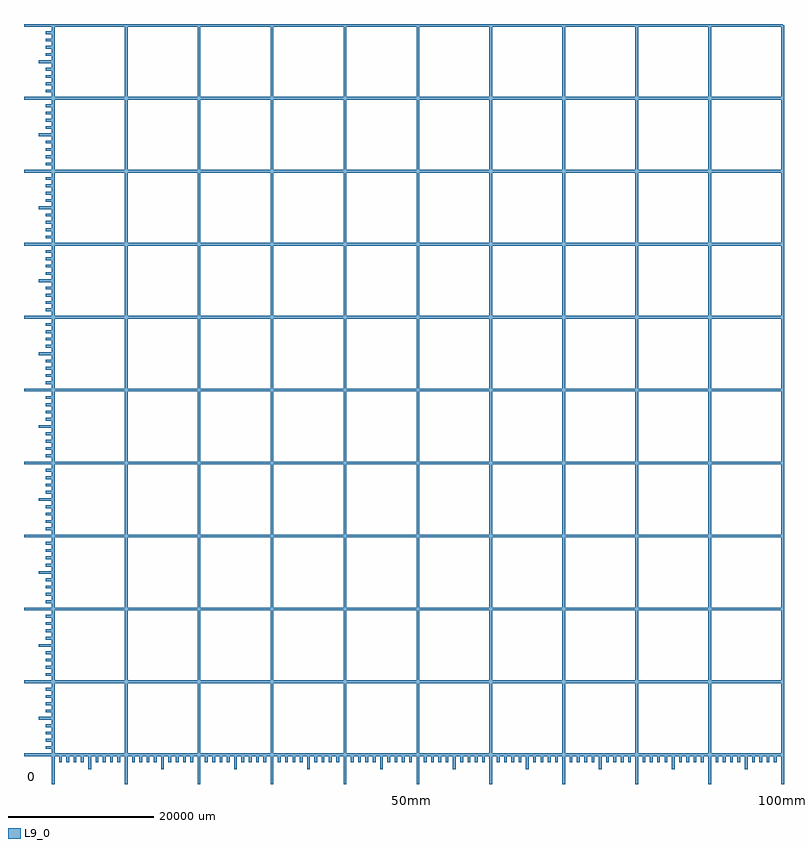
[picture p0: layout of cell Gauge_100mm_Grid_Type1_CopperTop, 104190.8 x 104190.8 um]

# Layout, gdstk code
import gdstk
lib = gdstk.Library(unit=1e-6, precision=1e-09)
L9_0 = (9, 0)

gauge_100mm_grid_type1_c = lib.new_cell('Gauge_100mm_Grid_Type1_CopperTop')
gauge_100mm_grid_type1_c.add(gdstk.FlexPath([(0,0),(0,99999.8)], 380.998, ends="flush", simple_path=True, layer=9, datatype=0))  # L9_0
gauge_100mm_grid_type1_c.add(gdstk.FlexPath([(0,99999.8),(-1998.98,99999.8)], 380.998, ends="flush", simple_path=True, layer=9, datatype=0))  # L9_0
gauge_100mm_grid_type1_c.add(gdstk.FlexPath([(-1998.98,99999.8),(-4000.5,99999.8)], 380.998, ends="flush", simple_path=True, layer=9, datatype=0))  # L9_0
gauge_100mm_grid_type1_c.add(gdstk.FlexPath([(0,98999.04),(-1000.76,98999.04)], 380.998, ends="flush", simple_path=True, layer=9, datatype=0))  # L9_0
gauge_100mm_grid_type1_c.add(gdstk.FlexPath([(0,98000.82),(-1000.76,98000.82)], 380.998, ends="flush", simple_path=True, layer=9, datatype=0))  # L9_0
gauge_100mm_grid_type1_c.add(gdstk.FlexPath([(0,97000.06),(-1000.76,97000.06)], 380.998, ends="flush", simple_path=True, layer=9, datatype=0))  # L9_0
gauge_100mm_grid_type1_c.add(gdstk.FlexPath([(0,95999.3),(-1000.76,95999.3)], 380.998, ends="flush", simple_path=True, layer=9, datatype=0))  # L9_0
gauge_100mm_grid_type1_c.add(gdstk.FlexPath([(0,95001.08),(-1998.98,95001.08)], 380.998, ends="flush", simple_path=True, layer=9, datatype=0))  # L9_0
gauge_100mm_grid_type1_c.add(gdstk.FlexPath([(0,94000.32),(-1000.76,94000.32)], 380.998, ends="flush", simple_path=True, layer=9, datatype=0))  # L9_0
gauge_100mm_grid_type1_c.add(gdstk.FlexPath([(0,92999.56),(-1000.76,92999.56)], 380.998, ends="flush", simple_path=True, layer=9, datatype=0))  # L9_0
gauge_100mm_grid_type1_c.add(gdstk.FlexPath([(0,91998.8),(-1000.76,91998.8)], 380.998, ends="flush", simple_path=True, layer=9, datatype=0))  # L9_0
gauge_100mm_grid_type1_c.add(gdstk.FlexPath([(0,91000.58),(-1000.76,91000.58)], 380.998, ends="flush", simple_path=True, layer=9, datatype=0))  # L9_0
gauge_100mm_grid_type1_c.add(gdstk.FlexPath([(0,89999.82),(-4000.5,89999.82)], 380.998, ends="flush", simple_path=True, layer=9, datatype=0))  # L9_0
gauge_100mm_grid_type1_c.add(gdstk.FlexPath([(0,88999.06),(-1000.76,88999.06)], 380.998, ends="flush", simple_path=True, layer=9, datatype=0))  # L9_0
gauge_100mm_grid_type1_c.add(gdstk.FlexPath([(0,88000.84),(-1000.76,88000.84)], 380.998, ends="flush", simple_path=True, layer=9, datatype=0))  # L9_0
gauge_100mm_grid_type1_c.add(gdstk.FlexPath([(0,87000.08),(-1000.76,87000.08)], 380.998, ends="flush", simple_path=True, layer=9, datatype=0))  # L9_0
gauge_100mm_grid_type1_c.add(gdstk.FlexPath([(0,85999.32),(-1000.76,85999.32)], 380.998, ends="flush", simple_path=True, layer=9, datatype=0))  # L9_0
gauge_100mm_grid_type1_c.add(gdstk.FlexPath([(0,85001.1),(-1998.98,85001.1)], 380.998, ends="flush", simple_path=True, layer=9, datatype=0))  # L9_0
gauge_100mm_grid_type1_c.add(gdstk.FlexPath([(0,84000.34),(-1000.76,84000.34)], 380.998, ends="flush", simple_path=True, layer=9, datatype=0))  # L9_0
gauge_100mm_grid_type1_c.add(gdstk.FlexPath([(0,82999.58),(-1000.76,82999.58)], 380.998, ends="flush", simple_path=True, layer=9, datatype=0))  # L9_0
gauge_100mm_grid_type1_c.add(gdstk.FlexPath([(0,81998.82),(-1000.76,81998.82)], 380.998, ends="flush", simple_path=True, layer=9, datatype=0))  # L9_0
gauge_100mm_grid_type1_c.add(gdstk.FlexPath([(0,81000.6),(-1000.76,81000.6)], 380.998, ends="flush", simple_path=True, layer=9, datatype=0))  # L9_0
gauge_100mm_grid_type1_c.add(gdstk.FlexPath([(0,79999.84),(-4000.5,79999.84)], 380.998, ends="flush", simple_path=True, layer=9, datatype=0))  # L9_0
gauge_100mm_grid_type1_c.add(gdstk.FlexPath([(0,78999.08),(-1000.76,78999.08)], 380.998, ends="flush", simple_path=True, layer=9, datatype=0))  # L9_0
gauge_100mm_grid_type1_c.add(gdstk.FlexPath([(0,78000.86),(-1000.76,78000.86)], 380.998, ends="flush", simple_path=True, layer=9, datatype=0))  # L9_0
gauge_100mm_grid_type1_c.add(gdstk.FlexPath([(0,77000.1),(-1000.76,77000.1)], 380.998, ends="flush", simple_path=True, layer=9, datatype=0))  # L9_0
gauge_100mm_grid_type1_c.add(gdstk.FlexPath([(0,75999.34),(-1000.76,75999.34)], 380.998, ends="flush", simple_path=True, layer=9, datatype=0))  # L9_0
gauge_100mm_grid_type1_c.add(gdstk.FlexPath([(0,75001.12),(-1998.98,75001.12)], 380.998, ends="flush", simple_path=True, layer=9, datatype=0))  # L9_0
gauge_100mm_grid_type1_c.add(gdstk.FlexPath([(0,74000.36),(-1000.76,74000.36)], 380.998, ends="flush", simple_path=True, layer=9, datatype=0))  # L9_0
gauge_100mm_grid_type1_c.add(gdstk.FlexPath([(0,72999.6),(-1000.76,72999.6)], 380.998, ends="flush", simple_path=True, layer=9, datatype=0))  # L9_0
gauge_100mm_grid_type1_c.add(gdstk.FlexPath([(0,71998.84),(-1000.76,71998.84)], 380.998, ends="flush", simple_path=True, layer=9, datatype=0))  # L9_0
gauge_100mm_grid_type1_c.add(gdstk.FlexPath([(0,71000.62),(-1000.76,71000.62)], 380.998, ends="flush", simple_path=True, layer=9, datatype=0))  # L9_0
gauge_100mm_grid_type1_c.add(gdstk.FlexPath([(0,69999.86),(-4000.5,69999.86)], 380.998, ends="flush", simple_path=True, layer=9, datatype=0))  # L9_0
gauge_100mm_grid_type1_c.add(gdstk.FlexPath([(0,68999.1),(-1000.76,68999.1)], 380.998, ends="flush", simple_path=True, layer=9, datatype=0))  # L9_0
gauge_100mm_grid_type1_c.add(gdstk.FlexPath([(0,68000.88),(-1000.76,68000.88)], 380.998, ends="flush", simple_path=True, layer=9, datatype=0))  # L9_0
gauge_100mm_grid_type1_c.add(gdstk.FlexPath([(0,67000.12),(-1000.76,67000.12)], 380.998, ends="flush", simple_path=True, layer=9, datatype=0))  # L9_0
gauge_100mm_grid_type1_c.add(gdstk.FlexPath([(0,65999.36),(-1000.76,65999.36)], 380.998, ends="flush", simple_path=True, layer=9, datatype=0))  # L9_0
gauge_100mm_grid_type1_c.add(gdstk.FlexPath([(0,65001.14),(-1998.98,65001.14)], 380.998, ends="flush", simple_path=True, layer=9, datatype=0))  # L9_0
gauge_100mm_grid_type1_c.add(gdstk.FlexPath([(0,64000.38),(-1000.76,64000.38)], 380.998, ends="flush", simple_path=True, layer=9, datatype=0))  # L9_0
gauge_100mm_grid_type1_c.add(gdstk.FlexPath([(0,62999.62),(-1000.76,62999.62)], 380.998, ends="flush", simple_path=True, layer=9, datatype=0))  # L9_0
gauge_100mm_grid_type1_c.add(gdstk.FlexPath([(0,61998.86),(-1000.76,61998.86)], 380.998, ends="flush", simple_path=True, layer=9, datatype=0))  # L9_0
gauge_100mm_grid_type1_c.add(gdstk.FlexPath([(0,61000.64),(-1000.76,61000.64)], 380.998, ends="flush", simple_path=True, layer=9, datatype=0))  # L9_0
gauge_100mm_grid_type1_c.add(gdstk.FlexPath([(0,59999.88),(-4000.5,59999.88)], 380.998, ends="flush", simple_path=True, layer=9, datatype=0))  # L9_0
gauge_100mm_grid_type1_c.add(gdstk.FlexPath([(0,58999.12),(-1000.76,58999.12)], 380.998, ends="flush", simple_path=True, layer=9, datatype=0))  # L9_0
gauge_100mm_grid_type1_c.add(gdstk.FlexPath([(0,58000.9),(-1000.76,58000.9)], 380.998, ends="flush", simple_path=True, layer=9, datatype=0))  # L9_0
gauge_100mm_grid_type1_c.add(gdstk.FlexPath([(0,57000.14),(-1000.76,57000.14)], 380.998, ends="flush", simple_path=True, layer=9, datatype=0))  # L9_0
gauge_100mm_grid_type1_c.add(gdstk.FlexPath([(0,55999.38),(-1000.76,55999.38)], 380.998, ends="flush", simple_path=True, layer=9, datatype=0))  # L9_0
gauge_100mm_grid_type1_c.add(gdstk.FlexPath([(0,55001.16),(-1000.76,55001.16)], 380.998, ends="flush", simple_path=True, layer=9, datatype=0))  # L9_0
gauge_100mm_grid_type1_c.add(gdstk.FlexPath([(-1000.76,55001.16),(-1998.98,55001.16)], 380.998, ends="flush", simple_path=True, layer=9, datatype=0))  # L9_0
gauge_100mm_grid_type1_c.add(gdstk.FlexPath([(0,54000.4),(-1000.76,54000.4)], 380.998, ends="flush", simple_path=True, layer=9, datatype=0))  # L9_0
gauge_100mm_grid_type1_c.add(gdstk.FlexPath([(0,52999.64),(-1000.76,52999.64)], 380.998, ends="flush", simple_path=True, layer=9, datatype=0))  # L9_0
gauge_100mm_grid_type1_c.add(gdstk.FlexPath([(0,51998.88),(-1000.76,51998.88)], 380.998, ends="flush", simple_path=True, layer=9, datatype=0))  # L9_0
gauge_100mm_grid_type1_c.add(gdstk.FlexPath([(0,51000.66),(-1000.76,51000.66)], 380.998, ends="flush", simple_path=True, layer=9, datatype=0))  # L9_0
gauge_100mm_grid_type1_c.add(gdstk.FlexPath([(0,49999.9),(-4000.5,49999.9)], 380.998, ends="flush", simple_path=True, layer=9, datatype=0))  # L9_0
gauge_100mm_grid_type1_c.add(gdstk.FlexPath([(0,48999.14),(-1000.76,48999.14)], 380.998, ends="flush", simple_path=True, layer=9, datatype=0))  # L9_0
gauge_100mm_grid_type1_c.add(gdstk.FlexPath([(0,48000.92),(-1000.76,48000.92)], 380.998, ends="flush", simple_path=True, layer=9, datatype=0))  # L9_0
gauge_100mm_grid_type1_c.add(gdstk.FlexPath([(0,47000.16),(-1000.76,47000.16)], 380.998, ends="flush", simple_path=True, layer=9, datatype=0))  # L9_0
gauge_100mm_grid_type1_c.add(gdstk.FlexPath([(0,45999.4),(-1000.76,45999.4)], 380.998, ends="flush", simple_path=True, layer=9, datatype=0))  # L9_0
gauge_100mm_grid_type1_c.add(gdstk.FlexPath([(0,45001.18),(-1998.98,45001.18)], 380.998, ends="flush", simple_path=True, layer=9, datatype=0))  # L9_0
gauge_100mm_grid_type1_c.add(gdstk.FlexPath([(0,44000.42),(-1000.76,44000.42)], 380.998, ends="flush", simple_path=True, layer=9, datatype=0))  # L9_0
gauge_100mm_grid_type1_c.add(gdstk.FlexPath([(0,42999.66),(-1000.76,42999.66)], 380.998, ends="flush", simple_path=True, layer=9, datatype=0))  # L9_0
gauge_100mm_grid_type1_c.add(gdstk.FlexPath([(0,41998.9),(-1000.76,41998.9)], 380.998, ends="flush", simple_path=True, layer=9, datatype=0))  # L9_0
gauge_100mm_grid_type1_c.add(gdstk.FlexPath([(0,41000.68),(-1000.76,41000.68)], 380.998, ends="flush", simple_path=True, layer=9, datatype=0))  # L9_0
gauge_100mm_grid_type1_c.add(gdstk.FlexPath([(0,39999.92),(-4000.5,39999.92)], 380.998, ends="flush", simple_path=True, layer=9, datatype=0))  # L9_0
gauge_100mm_grid_type1_c.add(gdstk.FlexPath([(0,38999.16),(-1000.76,38999.16)], 380.998, ends="flush", simple_path=True, layer=9, datatype=0))  # L9_0
gauge_100mm_grid_type1_c.add(gdstk.FlexPath([(0,38000.94),(-1000.76,38000.94)], 380.998, ends="flush", simple_path=True, layer=9, datatype=0))  # L9_0
gauge_100mm_grid_type1_c.add(gdstk.FlexPath([(0,37000.18),(-1000.76,37000.18)], 380.998, ends="flush", simple_path=True, layer=9, datatype=0))  # L9_0
gauge_100mm_grid_type1_c.add(gdstk.FlexPath([(0,35999.42),(-1000.76,35999.42)], 380.998, ends="flush", simple_path=True, layer=9, datatype=0))  # L9_0
gauge_100mm_grid_type1_c.add(gdstk.FlexPath([(0,35001.2),(-1998.98,35001.2)], 380.998, ends="flush", simple_path=True, layer=9, datatype=0))  # L9_0
gauge_100mm_grid_type1_c.add(gdstk.FlexPath([(0,34000.44),(-1000.76,34000.44)], 380.998, ends="flush", simple_path=True, layer=9, datatype=0))  # L9_0
gauge_100mm_grid_type1_c.add(gdstk.FlexPath([(0,32999.68),(-1000.76,32999.68)], 380.998, ends="flush", simple_path=True, layer=9, datatype=0))  # L9_0
gauge_100mm_grid_type1_c.add(gdstk.FlexPath([(0,31998.92),(-1000.76,31998.92)], 380.998, ends="flush", simple_path=True, layer=9, datatype=0))  # L9_0
gauge_100mm_grid_type1_c.add(gdstk.FlexPath([(0,31000.7),(-1000.76,31000.7)], 380.998, ends="flush", simple_path=True, layer=9, datatype=0))  # L9_0
gauge_100mm_grid_type1_c.add(gdstk.FlexPath([(0,29999.94),(-4000.5,29999.94)], 380.998, ends="flush", simple_path=True, layer=9, datatype=0))  # L9_0
gauge_100mm_grid_type1_c.add(gdstk.FlexPath([(0,28999.18),(-1000.76,28999.18)], 380.998, ends="flush", simple_path=True, layer=9, datatype=0))  # L9_0
gauge_100mm_grid_type1_c.add(gdstk.FlexPath([(0,28000.96),(-1000.76,28000.96)], 380.998, ends="flush", simple_path=True, layer=9, datatype=0))  # L9_0
gauge_100mm_grid_type1_c.add(gdstk.FlexPath([(0,27000.2),(-1000.76,27000.2)], 380.998, ends="flush", simple_path=True, layer=9, datatype=0))  # L9_0
gauge_100mm_grid_type1_c.add(gdstk.FlexPath([(0,25999.44),(-1000.76,25999.44)], 380.998, ends="flush", simple_path=True, layer=9, datatype=0))  # L9_0
gauge_100mm_grid_type1_c.add(gdstk.FlexPath([(0,25001.22),(-1998.98,25001.22)], 380.998, ends="flush", simple_path=True, layer=9, datatype=0))  # L9_0
gauge_100mm_grid_type1_c.add(gdstk.FlexPath([(0,24000.46),(-1000.76,24000.46)], 380.998, ends="flush", simple_path=True, layer=9, datatype=0))  # L9_0
gauge_100mm_grid_type1_c.add(gdstk.FlexPath([(0,22999.7),(-1000.76,22999.7)], 380.998, ends="flush", simple_path=True, layer=9, datatype=0))  # L9_0
gauge_100mm_grid_type1_c.add(gdstk.FlexPath([(0,21998.94),(-1000.76,21998.94)], 380.998, ends="flush", simple_path=True, layer=9, datatype=0))  # L9_0
gauge_100mm_grid_type1_c.add(gdstk.FlexPath([(0,21000.72),(-1000.76,21000.72)], 380.998, ends="flush", simple_path=True, layer=9, datatype=0))  # L9_0
gauge_100mm_grid_type1_c.add(gdstk.FlexPath([(0,19999.96),(-4000.5,19999.96)], 380.998, ends="flush", simple_path=True, layer=9, datatype=0))  # L9_0
gauge_100mm_grid_type1_c.add(gdstk.FlexPath([(0,18999.2),(-1000.76,18999.2)], 380.998, ends="flush", simple_path=True, layer=9, datatype=0))  # L9_0
gauge_100mm_grid_type1_c.add(gdstk.FlexPath([(0,18000.98),(-1000.76,18000.98)], 380.998, ends="flush", simple_path=True, layer=9, datatype=0))  # L9_0
gauge_100mm_grid_type1_c.add(gdstk.FlexPath([(0,17000.22),(-1000.76,17000.22)], 380.998, ends="flush", simple_path=True, layer=9, datatype=0))  # L9_0
gauge_100mm_grid_type1_c.add(gdstk.FlexPath([(0,15999.46),(-1000.76,15999.46)], 380.998, ends="flush", simple_path=True, layer=9, datatype=0))  # L9_0
gauge_100mm_grid_type1_c.add(gdstk.FlexPath([(0,15001.24),(-1998.98,15001.24)], 380.998, ends="flush", simple_path=True, layer=9, datatype=0))  # L9_0
gauge_100mm_grid_type1_c.add(gdstk.FlexPath([(0,14000.48),(-1000.76,14000.48)], 380.998, ends="flush", simple_path=True, layer=9, datatype=0))  # L9_0
gauge_100mm_grid_type1_c.add(gdstk.FlexPath([(0,12999.72),(-1000.76,12999.72)], 380.998, ends="flush", simple_path=True, layer=9, datatype=0))  # L9_0
gauge_100mm_grid_type1_c.add(gdstk.FlexPath([(0,11998.96),(-1000.76,11998.96)], 380.998, ends="flush", simple_path=True, layer=9, datatype=0))  # L9_0
gauge_100mm_grid_type1_c.add(gdstk.FlexPath([(0,11000.74),(-1000.76,11000.74)], 380.998, ends="flush", simple_path=True, layer=9, datatype=0))  # L9_0
gauge_100mm_grid_type1_c.add(gdstk.FlexPath([(0,9999.98),(-4000.5,9999.98)], 380.998, ends="flush", simple_path=True, layer=9, datatype=0))  # L9_0
gauge_100mm_grid_type1_c.add(gdstk.FlexPath([(0,8999.22),(-1000.76,8999.22)], 380.998, ends="flush", simple_path=True, layer=9, datatype=0))  # L9_0
gauge_100mm_grid_type1_c.add(gdstk.FlexPath([(0,8001),(-1000.76,8001)], 380.998, ends="flush", simple_path=True, layer=9, datatype=0))  # L9_0
gauge_100mm_grid_type1_c.add(gdstk.FlexPath([(0,7000.24),(-1000.76,7000.24)], 380.998, ends="flush", simple_path=True, layer=9, datatype=0))  # L9_0
gauge_100mm_grid_type1_c.add(gdstk.FlexPath([(0,5999.48),(-1000.76,5999.48)], 380.998, ends="flush", simple_path=True, layer=9, datatype=0))  # L9_0
gauge_100mm_grid_type1_c.add(gdstk.FlexPath([(0,5001.26),(-1998.98,5001.26)], 380.998, ends="flush", simple_path=True, layer=9, datatype=0))  # L9_0
gauge_100mm_grid_type1_c.add(gdstk.FlexPath([(0,4000.5),(-1000.76,4000.5)], 380.998, ends="flush", simple_path=True, layer=9, datatype=0))  # L9_0
gauge_100mm_grid_type1_c.add(gdstk.FlexPath([(0,2999.74),(-1000.76,2999.74)], 380.998, ends="flush", simple_path=True, layer=9, datatype=0))  # L9_0
gauge_100mm_grid_type1_c.add(gdstk.FlexPath([(0,1998.98),(-1000.76,1998.98)], 380.998, ends="flush", simple_path=True, layer=9, datatype=0))  # L9_0
gauge_100mm_grid_type1_c.add(gdstk.FlexPath([(0,1000.76),(-1000.76,1000.76)], 380.998, ends="flush", simple_path=True, layer=9, datatype=0))  # L9_0
gauge_100mm_grid_type1_c.add(gdstk.FlexPath([(0,0),(-4000.5,0)], 380.998, ends="flush", simple_path=True, layer=9, datatype=0))  # L9_0
gauge_100mm_grid_type1_c.add(gdstk.FlexPath([(0,0),(99999.8,0)], 380.998, ends="flush", simple_path=True, layer=9, datatype=0))  # L9_0
gauge_100mm_grid_type1_c.add(gdstk.FlexPath([(99999.8,0),(99999.8,-4000.5)], 380.998, ends="flush", simple_path=True, layer=9, datatype=0))  # L9_0
gauge_100mm_grid_type1_c.add(gdstk.FlexPath([(98999.04,0),(98999.04,-1000.76)], 380.998, ends="flush", simple_path=True, layer=9, datatype=0))  # L9_0
gauge_100mm_grid_type1_c.add(gdstk.FlexPath([(98000.82,0),(98000.82,-1000.76)], 380.998, ends="flush", simple_path=True, layer=9, datatype=0))  # L9_0
gauge_100mm_grid_type1_c.add(gdstk.FlexPath([(97000.06,0),(97000.06,-1000.76)], 380.998, ends="flush", simple_path=True, layer=9, datatype=0))  # L9_0
gauge_100mm_grid_type1_c.add(gdstk.FlexPath([(95999.3,0),(95999.3,-1000.76)], 380.998, ends="flush", simple_path=True, layer=9, datatype=0))  # L9_0
gauge_100mm_grid_type1_c.add(gdstk.FlexPath([(95001.08,0),(95001.08,-1998.98)], 380.998, ends="flush", simple_path=True, layer=9, datatype=0))  # L9_0
gauge_100mm_grid_type1_c.add(gdstk.FlexPath([(94000.32,0),(94000.32,-1000.76)], 380.998, ends="flush", simple_path=True, layer=9, datatype=0))  # L9_0
gauge_100mm_grid_type1_c.add(gdstk.FlexPath([(92999.56,0),(92999.56,-1000.76)], 380.998, ends="flush", simple_path=True, layer=9, datatype=0))  # L9_0
gauge_100mm_grid_type1_c.add(gdstk.FlexPath([(91998.8,0),(91998.8,-1000.76)], 380.998, ends="flush", simple_path=True, layer=9, datatype=0))  # L9_0
gauge_100mm_grid_type1_c.add(gdstk.FlexPath([(91000.58,0),(91000.58,-1000.76)], 380.998, ends="flush", simple_path=True, layer=9, datatype=0))  # L9_0
gauge_100mm_grid_type1_c.add(gdstk.FlexPath([(89999.82,0),(89999.82,-4000.5)], 380.998, ends="flush", simple_path=True, layer=9, datatype=0))  # L9_0
gauge_100mm_grid_type1_c.add(gdstk.FlexPath([(88999.06,0),(88999.06,-1000.76)], 380.998, ends="flush", simple_path=True, layer=9, datatype=0))  # L9_0
gauge_100mm_grid_type1_c.add(gdstk.FlexPath([(88000.84,0),(88000.84,-1000.76)], 380.998, ends="flush", simple_path=True, layer=9, datatype=0))  # L9_0
gauge_100mm_grid_type1_c.add(gdstk.FlexPath([(87000.08,0),(87000.08,-1000.76)], 380.998, ends="flush", simple_path=True, layer=9, datatype=0))  # L9_0
gauge_100mm_grid_type1_c.add(gdstk.FlexPath([(85999.32,0),(85999.32,-1000.76)], 380.998, ends="flush", simple_path=True, layer=9, datatype=0))  # L9_0
gauge_100mm_grid_type1_c.add(gdstk.FlexPath([(85001.1,0),(85001.1,-1998.98)], 380.998, ends="flush", simple_path=True, layer=9, datatype=0))  # L9_0
gauge_100mm_grid_type1_c.add(gdstk.FlexPath([(84000.34,0),(84000.34,-1000.76)], 380.998, ends="flush", simple_path=True, layer=9, datatype=0))  # L9_0
gauge_100mm_grid_type1_c.add(gdstk.FlexPath([(82999.58,0),(82999.58,-1000.76)], 380.998, ends="flush", simple_path=True, layer=9, datatype=0))  # L9_0
gauge_100mm_grid_type1_c.add(gdstk.FlexPath([(81998.82,0),(81998.82,-1000.76)], 380.998, ends="flush", simple_path=True, layer=9, datatype=0))  # L9_0
gauge_100mm_grid_type1_c.add(gdstk.FlexPath([(81000.6,0),(81000.6,-1000.76)], 380.998, ends="flush", simple_path=True, layer=9, datatype=0))  # L9_0
gauge_100mm_grid_type1_c.add(gdstk.FlexPath([(79999.84,0),(79999.84,-4000.5)], 380.998, ends="flush", simple_path=True, layer=9, datatype=0))  # L9_0
gauge_100mm_grid_type1_c.add(gdstk.FlexPath([(78999.08,0),(78999.08,-1000.76)], 380.998, ends="flush", simple_path=True, layer=9, datatype=0))  # L9_0
gauge_100mm_grid_type1_c.add(gdstk.FlexPath([(78000.86,0),(78000.86,-1000.76)], 380.998, ends="flush", simple_path=True, layer=9, datatype=0))  # L9_0
gauge_100mm_grid_type1_c.add(gdstk.FlexPath([(77000.1,0),(77000.1,-1000.76)], 380.998, ends="flush", simple_path=True, layer=9, datatype=0))  # L9_0
gauge_100mm_grid_type1_c.add(gdstk.FlexPath([(75999.34,0),(75999.34,-1000.76)], 380.998, ends="flush", simple_path=True, layer=9, datatype=0))  # L9_0
gauge_100mm_grid_type1_c.add(gdstk.FlexPath([(75001.12,0),(75001.12,-1998.98)], 380.998, ends="flush", simple_path=True, layer=9, datatype=0))  # L9_0
gauge_100mm_grid_type1_c.add(gdstk.FlexPath([(74000.36,0),(74000.36,-1000.76)], 380.998, ends="flush", simple_path=True, layer=9, datatype=0))  # L9_0
gauge_100mm_grid_type1_c.add(gdstk.FlexPath([(72999.6,0),(72999.6,-1000.76)], 380.998, ends="flush", simple_path=True, layer=9, datatype=0))  # L9_0
gauge_100mm_grid_type1_c.add(gdstk.FlexPath([(71998.84,0),(71998.84,-1000.76)], 380.998, ends="flush", simple_path=True, layer=9, datatype=0))  # L9_0
gauge_100mm_grid_type1_c.add(gdstk.FlexPath([(71000.62,0),(71000.62,-1000.76)], 380.998, ends="flush", simple_path=True, layer=9, datatype=0))  # L9_0
gauge_100mm_grid_type1_c.add(gdstk.FlexPath([(69999.86,0),(69999.86,-4000.5)], 380.998, ends="flush", simple_path=True, layer=9, datatype=0))  # L9_0
gauge_100mm_grid_type1_c.add(gdstk.FlexPath([(68999.1,0),(68999.1,-1000.76)], 380.998, ends="flush", simple_path=True, layer=9, datatype=0))  # L9_0
gauge_100mm_grid_type1_c.add(gdstk.FlexPath([(68000.88,0),(68000.88,-1000.76)], 380.998, ends="flush", simple_path=True, layer=9, datatype=0))  # L9_0
gauge_100mm_grid_type1_c.add(gdstk.FlexPath([(67000.12,0),(67000.12,-1000.76)], 380.998, ends="flush", simple_path=True, layer=9, datatype=0))  # L9_0
gauge_100mm_grid_type1_c.add(gdstk.FlexPath([(65999.36,0),(65999.36,-1000.76)], 380.998, ends="flush", simple_path=True, layer=9, datatype=0))  # L9_0
gauge_100mm_grid_type1_c.add(gdstk.FlexPath([(65001.14,0),(65001.14,-1998.98)], 380.998, ends="flush", simple_path=True, layer=9, datatype=0))  # L9_0
gauge_100mm_grid_type1_c.add(gdstk.FlexPath([(64000.38,0),(64000.38,-1000.76)], 380.998, ends="flush", simple_path=True, layer=9, datatype=0))  # L9_0
gauge_100mm_grid_type1_c.add(gdstk.FlexPath([(62999.62,0),(62999.62,-1000.76)], 380.998, ends="flush", simple_path=True, layer=9, datatype=0))  # L9_0
gauge_100mm_grid_type1_c.add(gdstk.FlexPath([(61998.86,0),(61998.86,-1000.76)], 380.998, ends="flush", simple_path=True, layer=9, datatype=0))  # L9_0
gauge_100mm_grid_type1_c.add(gdstk.FlexPath([(61000.64,0),(61000.64,-1000.76)], 380.998, ends="flush", simple_path=True, layer=9, datatype=0))  # L9_0
gauge_100mm_grid_type1_c.add(gdstk.FlexPath([(59999.88,0),(59999.88,-4000.5)], 380.998, ends="flush", simple_path=True, layer=9, datatype=0))  # L9_0
gauge_100mm_grid_type1_c.add(gdstk.FlexPath([(58999.12,0),(58999.12,-1000.76)], 380.998, ends="flush", simple_path=True, layer=9, datatype=0))  # L9_0
gauge_100mm_grid_type1_c.add(gdstk.FlexPath([(58000.9,0),(58000.9,-1000.76)], 380.998, ends="flush", simple_path=True, layer=9, datatype=0))  # L9_0
gauge_100mm_grid_type1_c.add(gdstk.FlexPath([(57000.14,0),(57000.14,-1000.76)], 380.998, ends="flush", simple_path=True, layer=9, datatype=0))  # L9_0
gauge_100mm_grid_type1_c.add(gdstk.FlexPath([(55999.38,0),(55999.38,-1000.76)], 380.998, ends="flush", simple_path=True, layer=9, datatype=0))  # L9_0
gauge_100mm_grid_type1_c.add(gdstk.FlexPath([(55001.16,0),(55001.16,-1998.98)], 380.998, ends="flush", simple_path=True, layer=9, datatype=0))  # L9_0
gauge_100mm_grid_type1_c.add(gdstk.FlexPath([(54000.4,0),(54000.4,-1000.76)], 380.998, ends="flush", simple_path=True, layer=9, datatype=0))  # L9_0
gauge_100mm_grid_type1_c.add(gdstk.FlexPath([(52999.64,0),(52999.64,-1000.76)], 380.998, ends="flush", simple_path=True, layer=9, datatype=0))  # L9_0
gauge_100mm_grid_type1_c.add(gdstk.FlexPath([(51998.88,0),(51998.88,-1000.76)], 380.998, ends="flush", simple_path=True, layer=9, datatype=0))  # L9_0
gauge_100mm_grid_type1_c.add(gdstk.FlexPath([(51000.66,0),(51000.66,-1000.76)], 380.998, ends="flush", simple_path=True, layer=9, datatype=0))  # L9_0
gauge_100mm_grid_type1_c.add(gdstk.FlexPath([(49999.9,0),(49999.9,-4000.5)], 380.998, ends="flush", simple_path=True, layer=9, datatype=0))  # L9_0
gauge_100mm_grid_type1_c.add(gdstk.FlexPath([(48999.14,0),(48999.14,-1000.76)], 380.998, ends="flush", simple_path=True, layer=9, datatype=0))  # L9_0
gauge_100mm_grid_type1_c.add(gdstk.FlexPath([(48000.92,0),(48000.92,-1000.76)], 380.998, ends="flush", simple_path=True, layer=9, datatype=0))  # L9_0
gauge_100mm_grid_type1_c.add(gdstk.FlexPath([(47000.16,0),(47000.16,-1000.76)], 380.998, ends="flush", simple_path=True, layer=9, datatype=0))  # L9_0
gauge_100mm_grid_type1_c.add(gdstk.FlexPath([(45999.4,0),(45999.4,-1000.76)], 380.998, ends="flush", simple_path=True, layer=9, datatype=0))  # L9_0
gauge_100mm_grid_type1_c.add(gdstk.FlexPath([(45001.18,0),(45001.18,-1998.98)], 380.998, ends="flush", simple_path=True, layer=9, datatype=0))  # L9_0
gauge_100mm_grid_type1_c.add(gdstk.FlexPath([(44000.42,0),(44000.42,-1000.76)], 380.998, ends="flush", simple_path=True, layer=9, datatype=0))  # L9_0
gauge_100mm_grid_type1_c.add(gdstk.FlexPath([(42999.66,0),(42999.66,-1000.76)], 380.998, ends="flush", simple_path=True, layer=9, datatype=0))  # L9_0
gauge_100mm_grid_type1_c.add(gdstk.FlexPath([(41998.9,0),(41998.9,-1000.76)], 380.998, ends="flush", simple_path=True, layer=9, datatype=0))  # L9_0
gauge_100mm_grid_type1_c.add(gdstk.FlexPath([(41000.68,0),(41000.68,-1000.76)], 380.998, ends="flush", simple_path=True, layer=9, datatype=0))  # L9_0
gauge_100mm_grid_type1_c.add(gdstk.FlexPath([(39999.92,0),(39999.92,-4000.5)], 380.998, ends="flush", simple_path=True, layer=9, datatype=0))  # L9_0
gauge_100mm_grid_type1_c.add(gdstk.FlexPath([(38999.16,0),(38999.16,-1000.76)], 380.998, ends="flush", simple_path=True, layer=9, datatype=0))  # L9_0
gauge_100mm_grid_type1_c.add(gdstk.FlexPath([(38000.94,0),(38000.94,-1000.76)], 380.998, ends="flush", simple_path=True, layer=9, datatype=0))  # L9_0
gauge_100mm_grid_type1_c.add(gdstk.FlexPath([(37000.18,0),(37000.18,-1000.76)], 380.998, ends="flush", simple_path=True, layer=9, datatype=0))  # L9_0
gauge_100mm_grid_type1_c.add(gdstk.FlexPath([(35999.42,0),(35999.42,-1000.76)], 380.998, ends="flush", simple_path=True, layer=9, datatype=0))  # L9_0
gauge_100mm_grid_type1_c.add(gdstk.FlexPath([(35001.2,0),(35001.2,-1998.98)], 380.998, ends="flush", simple_path=True, layer=9, datatype=0))  # L9_0
gauge_100mm_grid_type1_c.add(gdstk.FlexPath([(34000.44,0),(34000.44,-1000.76)], 380.998, ends="flush", simple_path=True, layer=9, datatype=0))  # L9_0
gauge_100mm_grid_type1_c.add(gdstk.FlexPath([(32999.68,0),(32999.68,-1000.76)], 380.998, ends="flush", simple_path=True, layer=9, datatype=0))  # L9_0
gauge_100mm_grid_type1_c.add(gdstk.FlexPath([(31998.92,0),(31998.92,-1000.76)], 380.998, ends="flush", simple_path=True, layer=9, datatype=0))  # L9_0
gauge_100mm_grid_type1_c.add(gdstk.FlexPath([(31000.7,0),(31000.7,-1000.76)], 380.998, ends="flush", simple_path=True, layer=9, datatype=0))  # L9_0
gauge_100mm_grid_type1_c.add(gdstk.FlexPath([(29999.94,0),(29999.94,-4000.5)], 380.998, ends="flush", simple_path=True, layer=9, datatype=0))  # L9_0
gauge_100mm_grid_type1_c.add(gdstk.FlexPath([(28999.18,0),(28999.18,-1000.76)], 380.998, ends="flush", simple_path=True, layer=9, datatype=0))  # L9_0
gauge_100mm_grid_type1_c.add(gdstk.FlexPath([(28000.96,0),(28000.96,-1000.76)], 380.998, ends="flush", simple_path=True, layer=9, datatype=0))  # L9_0
gauge_100mm_grid_type1_c.add(gdstk.FlexPath([(27000.2,0),(27000.2,-1000.76)], 380.998, ends="flush", simple_path=True, layer=9, datatype=0))  # L9_0
gauge_100mm_grid_type1_c.add(gdstk.FlexPath([(25999.44,0),(25999.44,-1000.76)], 380.998, ends="flush", simple_path=True, layer=9, datatype=0))  # L9_0
gauge_100mm_grid_type1_c.add(gdstk.FlexPath([(25001.22,0),(25001.22,-1998.98)], 380.998, ends="flush", simple_path=True, layer=9, datatype=0))  # L9_0
gauge_100mm_grid_type1_c.add(gdstk.FlexPath([(24000.46,0),(24000.46,-1000.76)], 380.998, ends="flush", simple_path=True, layer=9, datatype=0))  # L9_0
gauge_100mm_grid_type1_c.add(gdstk.FlexPath([(22999.7,0),(22999.7,-1000.76)], 380.998, ends="flush", simple_path=True, layer=9, datatype=0))  # L9_0
gauge_100mm_grid_type1_c.add(gdstk.FlexPath([(21998.94,0),(21998.94,-1000.76)], 380.998, ends="flush", simple_path=True, layer=9, datatype=0))  # L9_0
gauge_100mm_grid_type1_c.add(gdstk.FlexPath([(21000.72,0),(21000.72,-1000.76)], 380.998, ends="flush", simple_path=True, layer=9, datatype=0))  # L9_0
gauge_100mm_grid_type1_c.add(gdstk.FlexPath([(19999.96,0),(19999.96,-4000.5)], 380.998, ends="flush", simple_path=True, layer=9, datatype=0))  # L9_0
gauge_100mm_grid_type1_c.add(gdstk.FlexPath([(18999.2,0),(18999.2,-1000.76)], 380.998, ends="flush", simple_path=True, layer=9, datatype=0))  # L9_0
gauge_100mm_grid_type1_c.add(gdstk.FlexPath([(18000.98,0),(18000.98,-1000.76)], 380.998, ends="flush", simple_path=True, layer=9, datatype=0))  # L9_0
gauge_100mm_grid_type1_c.add(gdstk.FlexPath([(17000.22,0),(17000.22,-1000.76)], 380.998, ends="flush", simple_path=True, layer=9, datatype=0))  # L9_0
gauge_100mm_grid_type1_c.add(gdstk.FlexPath([(15999.46,0),(15999.46,-1000.76)], 380.998, ends="flush", simple_path=True, layer=9, datatype=0))  # L9_0
gauge_100mm_grid_type1_c.add(gdstk.FlexPath([(15001.24,0),(15001.24,-1998.98)], 380.998, ends="flush", simple_path=True, layer=9, datatype=0))  # L9_0
gauge_100mm_grid_type1_c.add(gdstk.FlexPath([(14000.48,0),(14000.48,-1000.76)], 380.998, ends="flush", simple_path=True, layer=9, datatype=0))  # L9_0
gauge_100mm_grid_type1_c.add(gdstk.FlexPath([(12999.72,0),(12999.72,-1000.76)], 380.998, ends="flush", simple_path=True, layer=9, datatype=0))  # L9_0
gauge_100mm_grid_type1_c.add(gdstk.FlexPath([(11998.96,0),(11998.96,-1000.76)], 380.998, ends="flush", simple_path=True, layer=9, datatype=0))  # L9_0
gauge_100mm_grid_type1_c.add(gdstk.FlexPath([(11000.74,0),(11000.74,-1000.76)], 380.998, ends="flush", simple_path=True, layer=9, datatype=0))  # L9_0
gauge_100mm_grid_type1_c.add(gdstk.FlexPath([(9999.98,0),(9999.98,-4000.5)], 380.998, ends="flush", simple_path=True, layer=9, datatype=0))  # L9_0
gauge_100mm_grid_type1_c.add(gdstk.FlexPath([(8999.22,0),(8999.22,-1000.76)], 380.998, ends="flush", simple_path=True, layer=9, datatype=0))  # L9_0
gauge_100mm_grid_type1_c.add(gdstk.FlexPath([(8001,0),(8001,-1000.76)], 380.998, ends="flush", simple_path=True, layer=9, datatype=0))  # L9_0
gauge_100mm_grid_type1_c.add(gdstk.FlexPath([(7000.24,0),(7000.24,-1000.76)], 380.998, ends="flush", simple_path=True, layer=9, datatype=0))  # L9_0
gauge_100mm_grid_type1_c.add(gdstk.FlexPath([(5999.48,0),(5999.48,-1000.76)], 380.998, ends="flush", simple_path=True, layer=9, datatype=0))  # L9_0
gauge_100mm_grid_type1_c.add(gdstk.FlexPath([(5001.26,0),(5001.26,-1998.98)], 380.998, ends="flush", simple_path=True, layer=9, datatype=0))  # L9_0
gauge_100mm_grid_type1_c.add(gdstk.FlexPath([(4000.5,0),(4000.5,-1000.76)], 380.998, ends="flush", simple_path=True, layer=9, datatype=0))  # L9_0
gauge_100mm_grid_type1_c.add(gdstk.FlexPath([(2999.74,0),(2999.74,-1000.76)], 380.998, ends="flush", simple_path=True, layer=9, datatype=0))  # L9_0
gauge_100mm_grid_type1_c.add(gdstk.FlexPath([(1998.98,0),(1998.98,-1000.76)], 380.998, ends="flush", simple_path=True, layer=9, datatype=0))  # L9_0
gauge_100mm_grid_type1_c.add(gdstk.FlexPath([(1000.76,0),(1000.76,-1000.76)], 380.998, ends="flush", simple_path=True, layer=9, datatype=0))  # L9_0
gauge_100mm_grid_type1_c.add(gdstk.FlexPath([(0,0),(0,-4000.5)], 380.998, ends="flush", simple_path=True, layer=9, datatype=0))  # L9_0
gauge_100mm_grid_type1_c.add(gdstk.FlexPath([(99999.8,99999.8),(99999.8,0)], 380.998, ends="flush", simple_path=True, layer=9, datatype=0))  # L9_0
gauge_100mm_grid_type1_c.add(gdstk.FlexPath([(0,99999.8),(99999.8,99999.8)], 380.998, ends="flush", simple_path=True, layer=9, datatype=0))  # L9_0
gauge_100mm_grid_type1_c.add(gdstk.FlexPath([(89999.82,0),(89999.82,99999.8)], 380.998, ends="flush", simple_path=True, layer=9, datatype=0))  # L9_0
gauge_100mm_grid_type1_c.add(gdstk.FlexPath([(79999.84,99999.8),(79999.84,0)], 380.998, ends="flush", simple_path=True, layer=9, datatype=0))  # L9_0
gauge_100mm_grid_type1_c.add(gdstk.FlexPath([(69999.86,0),(69999.86,99999.8)], 380.998, ends="flush", simple_path=True, layer=9, datatype=0))  # L9_0
gauge_100mm_grid_type1_c.add(gdstk.FlexPath([(59999.88,99999.8),(59999.88,0)], 380.998, ends="flush", simple_path=True, layer=9, datatype=0))  # L9_0
gauge_100mm_grid_type1_c.add(gdstk.FlexPath([(49999.9,0),(49999.9,99999.8)], 380.998, ends="flush", simple_path=True, layer=9, datatype=0))  # L9_0
gauge_100mm_grid_type1_c.add(gdstk.FlexPath([(39999.92,0),(39999.92,99999.8)], 380.998, ends="flush", simple_path=True, layer=9, datatype=0))  # L9_0
gauge_100mm_grid_type1_c.add(gdstk.FlexPath([(29999.94,0),(29999.94,99999.8)], 380.998, ends="flush", simple_path=True, layer=9, datatype=0))  # L9_0
gauge_100mm_grid_type1_c.add(gdstk.FlexPath([(19999.96,0),(19999.96,99999.8)], 380.998, ends="flush", simple_path=True, layer=9, datatype=0))  # L9_0
gauge_100mm_grid_type1_c.add(gdstk.FlexPath([(9999.98,0),(9999.98,99999.8)], 380.998, ends="flush", simple_path=True, layer=9, datatype=0))  # L9_0
gauge_100mm_grid_type1_c.add(gdstk.FlexPath([(0,9999.98),(99999.8,9999.98)], 380.998, ends="flush", simple_path=True, layer=9, datatype=0))  # L9_0
gauge_100mm_grid_type1_c.add(gdstk.FlexPath([(0,19999.96),(99999.8,19999.96)], 380.998, ends="flush", simple_path=True, layer=9, datatype=0))  # L9_0
gauge_100mm_grid_type1_c.add(gdstk.FlexPath([(0,29999.94),(99999.8,29999.94)], 380.998, ends="flush", simple_path=True, layer=9, datatype=0))  # L9_0
gauge_100mm_grid_type1_c.add(gdstk.FlexPath([(0,39999.92),(99999.8,39999.92)], 380.998, ends="flush", simple_path=True, layer=9, datatype=0))  # L9_0
gauge_100mm_grid_type1_c.add(gdstk.FlexPath([(0,49999.9),(99999.8,49999.9)], 380.998, ends="flush", simple_path=True, layer=9, datatype=0))  # L9_0
gauge_100mm_grid_type1_c.add(gdstk.FlexPath([(0,59999.88),(99999.8,59999.88)], 380.998, ends="flush", simple_path=True, layer=9, datatype=0))  # L9_0
gauge_100mm_grid_type1_c.add(gdstk.FlexPath([(0,69999.86),(99999.8,69999.86)], 380.998, ends="flush", simple_path=True, layer=9, datatype=0))  # L9_0
gauge_100mm_grid_type1_c.add(gdstk.FlexPath([(0,79999.84),(99999.8,79999.84)], 380.998, ends="flush", simple_path=True, layer=9, datatype=0))  # L9_0
gauge_100mm_grid_type1_c.add(gdstk.FlexPath([(0,89999.82),(99999.8,89999.82)], 380.998, ends="flush", simple_path=True, layer=9, datatype=0))  # L9_0
gauge_100mm_grid_type1_c.add(gdstk.Label('100mm', (100101.4,-6202.68), layer=9, texttype=0))
gauge_100mm_grid_type1_c.add(gdstk.Label('50mm', (49100.74,-6202.68), layer=9, texttype=0))
gauge_100mm_grid_type1_c.add(gdstk.Label('100mm', (-10899.14,100797.36), layer=9, texttype=0))
gauge_100mm_grid_type1_c.add(gdstk.Label('50mm', (-8999.22,49999.9), layer=9, texttype=0))
gauge_100mm_grid_type1_c.add(gdstk.Label('0', (-2999.74,-2999.74), layer=9, texttype=0))
gauge_100mm_grid_type1_c.add(gdstk.Label('type', (49999.9,-21000.72), layer=9, texttype=0))
gauge_100mm_grid_type1_c.add(gdstk.Label('devicename', (7000.24,-21000.72), layer=9, texttype=0))

lib.write_gds('Gauge_100mm_Grid_Type1_CopperTop.gds')
